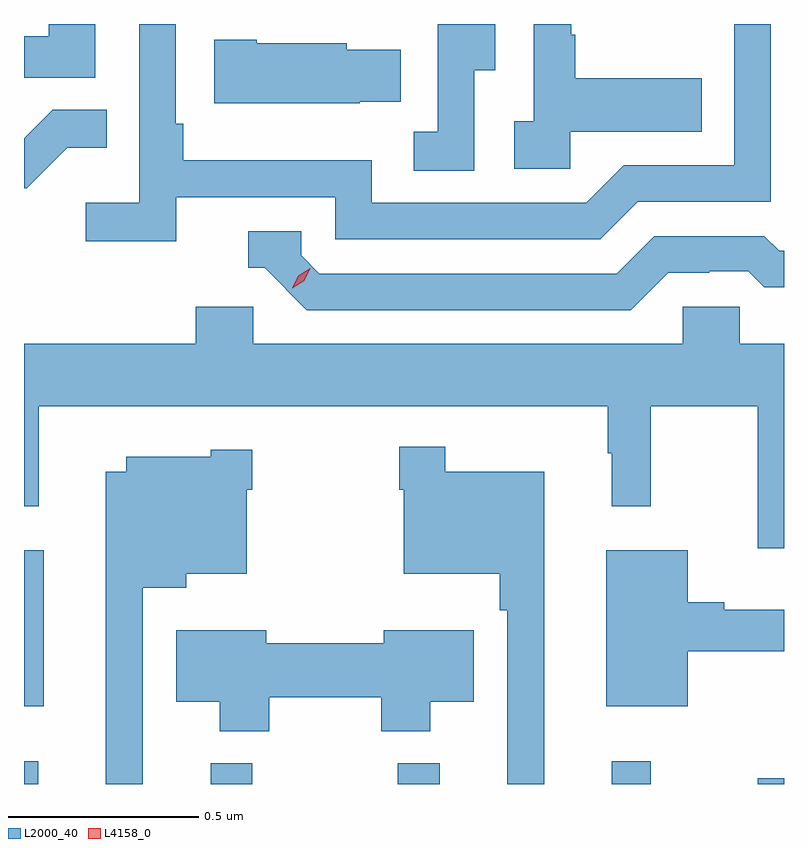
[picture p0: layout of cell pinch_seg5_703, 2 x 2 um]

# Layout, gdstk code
import gdstk
lib = gdstk.Library(unit=1e-6, precision=1e-09)
def R(c, l, rs):  # rectangles x0, y0, x1, y1
    for r in rs: c.add(gdstk.rectangle(r[:2], r[2:], *l))
def P(c, l, *ps):  # polygons
    for p in ps: c.add(gdstk.Polygon(p, *l))
L2000_40 = (2000, 40)
L4158_0 = (4158, 0)

pinch_seg5_703 = lib.new_cell('pinch_seg5_703')
R(pinch_seg5_703, L2000_40, [(1134.105,833.122,1134.143,833.182), (1134.596,833.122,1134.706,833.176), (1135.089,833.122,1135.199,833.176), (1135.652,833.122,1135.754,833.182), (1136.036,833.122,1136.105,833.137), (1134.105,833.327,1134.157,833.737)])
P(pinch_seg5_703, L2000_40, [(1135.542,834.839),(1135.889,834.839),(1135.889,834.979),(1135.555,834.979),(1135.555,835.094),(1135.545,835.094),(1135.545,835.122),(1135.446,835.122),(1135.446,834.866),(1135.395,834.866),(1135.395,834.741),(1135.542,834.741)],
  [(1134.506,834.666),(1134.924,834.666),(1134.924,834.555),(1135.621,834.555),(1135.72,834.654),(1136.07,834.654),(1136.07,835.122),(1135.974,835.122),(1135.974,834.75),(1135.683,834.75),(1135.584,834.651),(1135.02,834.651),(1135.02,834.763),(1134.524,834.763),(1134.524,834.859),(1134.504,834.859),(1134.504,835.122),(1134.408,835.122),(1134.408,834.652),(1134.267,834.652),(1134.267,834.55),(1134.506,834.55)],
  [(1135.29,835),(1135.345,835),(1135.345,835.122),(1135.194,835.122),(1135.194,834.839),(1135.131,834.839),(1135.131,834.736),(1135.29,834.736)],
  [(1134.292,835.122),(1134.17,835.122),(1134.17,835.09),(1134.105,835.09),(1134.105,834.981),(1134.292,834.981)],
  [(1134.989,834.917),(1135.097,834.917),(1135.097,835.054),(1134.954,835.054),(1134.954,835.072),(1134.718,835.072),(1134.718,835.08),(1134.606,835.08),(1134.606,834.914),(1134.989,834.914)],
  [(1134.219,834.797),(1134.323,834.797),(1134.323,834.896),(1134.18,834.896),(1134.105,834.821),(1134.105,834.69),(1134.112,834.69)],
  [(1135.801,834.468),(1135.908,834.468),(1135.908,834.471),(1136.011,834.471),(1136.053,834.429),(1136.105,834.429),(1136.105,834.525),(1136.092,834.525),(1136.053,834.564),(1135.764,834.564),(1135.665,834.465),(1134.882,834.465),(1134.834,834.513),(1134.834,834.576),(1134.695,834.576),(1134.695,834.48),(1134.738,834.48),(1134.849,834.369),(1135.702,834.369)],
  [(1136.105,834.28),(1135.989,834.28),(1135.989,834.378),(1135.839,834.378),(1135.839,834.28),(1134.708,834.28),(1134.708,834.378),(1134.557,834.378),(1134.557,834.28),(1134.105,834.28),(1134.105,833.853),(1134.144,833.853),(1134.144,834.116),(1135.641,834.116),(1135.641,833.993),(1135.652,833.993),(1135.652,833.853),(1135.754,833.853),(1135.754,834.116),(1136.036,834.116),(1136.036,833.742),(1136.105,833.742)],
  [(1135.474,833.944),(1135.213,833.944),(1135.213,834.01),(1135.092,834.01),(1135.092,833.897),(1135.104,833.897),(1135.104,833.675),(1135.357,833.675),(1135.357,833.579),(1135.377,833.579),(1135.377,833.122),(1135.474,833.122)],
  [(1134.417,833.639),(1134.532,833.639),(1134.532,833.675),(1134.691,833.675),(1134.691,833.897),(1134.705,833.897),(1134.705,834.001),(1134.597,834.001),(1134.597,833.983),(1134.374,833.983),(1134.374,833.944),(1134.32,833.944),(1134.32,833.122),(1134.417,833.122)],
  [(1135.852,833.472),(1136.105,833.472),(1136.105,833.581),(1135.948,833.581),(1135.948,833.6),(1135.852,833.6),(1135.852,833.737),(1135.637,833.737),(1135.637,833.327),(1135.852,833.327)],
  [(1134.75,833.35),(1135.045,833.35),(1135.045,833.261),(1135.174,833.261),(1135.174,833.339),(1135.288,833.339),(1135.288,833.527),(1135.052,833.527),(1135.052,833.492),(1134.742,833.492),(1134.742,833.527),(1134.506,833.527),(1134.506,833.339),(1134.62,833.339),(1134.62,833.261),(1134.75,833.261)])
P(pinch_seg5_703, L4158_0, [(1134.811,834.426),(1134.811,834.427),(1134.827,834.46),(1134.858,834.479),(1134.858,834.479),(1134.858,834.479),(1134.842,834.446),(1134.811,834.426)])

lib.write_gds('pinch_seg5_703.gds')
